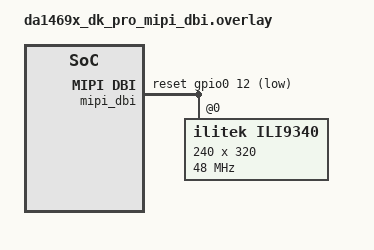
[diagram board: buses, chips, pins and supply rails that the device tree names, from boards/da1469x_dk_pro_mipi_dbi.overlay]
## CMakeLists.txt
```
# SPDX-License-Identifier: Apache-2.0

cmake_minimum_required(VERSION 3.28.0)
find_package(Zephyr REQUIRED HINTS $ENV{ZEPHYR_BASE})
project(display)

target_sources(app PRIVATE src/main.c src/display.c)
```

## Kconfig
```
# Private config options for display sample

# Copyright (c) 2025 NXP
# SPDX-License-Identifier: Apache-2.0

mainmenu "Display sample application"

source "Kconfig.zephyr"

config SAMPLE_BUFFER_ADDR_ALIGN
	int "The display buffer address alignment"
	default 8 if 64BIT
	default 8 if DISPLAY_MCUX_ELCDIF
	default 4

config SAMPLE_WIDTH_ALIGN
	int "The update area width alignment"
	default 24 if ST730X
	default 8 if UC81XX
	default 6 if ST7586S
	default 4 if SSD1322 || SSD1363
	default 2 if SSD1327_5 || SSD1320 || SH1122
	default 1

config SAMPLE_HEIGHT_ALIGN
	int "The update area height alignment"
	default 8 if ST75256 || ST7567
	default 2 if ST730X
	default 1

config HEAP_MEM_POOL_ADD_SIZE_SAMPLE
	int "Sample maximum heap allocated buffer size"
	default 16384 if SRAM_SIZE < 48
	default 32768 if SRAM_SIZE < 80
	default 196608 if QEMU_RAMFB_DISPLAY
	default 81920 if ST7262
	default 65536
	help
	  Maximum size of the buffer for rendering rectangles
```

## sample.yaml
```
sample:
  description: Sample application for displays
  name: display_sample
common:
  tags: display
tests:
  sample.display.sdl:
    build_only: true
    platform_allow:
      - native_sim/native/64
  sample.display.dummy:
    platform_allow:
      - native_sim
    extra_args: DTC_OVERLAY_FILE="dummy_dc.overlay"
    extra_configs:
      - CONFIG_SDL_DISPLAY=n
      - CONFIG_TEST=y
    harness: console
    harness_config:
      fixture: fixture_display
      type: one_line
      regex:
        - "Display sample for (.*)"
  sample.display.g1120b0mipi:
    platform_allow:
      - mimxrt595_evk/mimxrt595s/cm33
      - mimxrt700_evk/mimxrt798s/cm33_cpu0
    harness: console
    extra_args: SHIELD=g1120b0mipi
    extra_configs:
      - CONFIG_PM=y
      - CONFIG_PM_DEVICE=y
      - CONFIG_IDLE_STACK_SIZE=400
      - CONFIG_TEST=y
    harness_config:
      fixture: fixture_display_g1120b0mipi
      type: multi_line
      regex:
        - "sample: Display sample for (.*)"
        - "Display starts"
        - "Display sample test mode done (.*)"
  sample.display.builtin:
    # This test case is intended to insure that this sample builds & runs
    # correctly for all boards that have a supported built-in display.
    filter: dt_chosen_enabled("zephyr,display")
    harness: console
    harness_config:
      fixture: fixture_display
  sample.display.st_b_lcd40_dsi1_mb1166_a09:
    filter: dt_compat_enabled("frida,nt35510")
    platform_allow: stm32h747i_disco/stm32h747xx/m7
    extra_args: SHIELD=st_b_lcd40_dsi1_mb1166_a09
    tags:
      - shield
    harness: console
    harness_config:
      fixture: fixture_display
  sample.display.rk043fn02h_ct:
    platform_allow:
      - mimxrt1064_evk
      - mimxrt1060_evk@A/mimxrt1062/qspi
      - mimxrt1060_evk@B/mimxrt1062/qspi
      - mimxrt1060_evk@C/mimxrt1062/qspi
      - mimxrt1050_evk/mimxrt1052/hyperflash
      - mimxrt1040_evk
    integration_platforms:
      - mimxrt1040_evk
    harness: console
    extra_args: SHIELD=rk043fn02h_ct
    harness_config:
      fixture: fixture_display
      type: one_line
      regex:
        - "Display sample for (.*)"
  sample.display.shield:
    # This test case is intended to verify support for shields on boards
    # known to support them. It is not intended to cover all combinations
    # of boards and shields, but rather serve as a method to test each
    # display shield within Zephyr
    filter: dt_chosen_enabled("zephyr,display")
    harness: console
    harness_config:
      fixture: fixture_display
      type: one_line
      regex:
        - "Display sample for (.*)"
    extra_args:
      - platform:lpcxpresso55s69/lpc55s69/cpu0:SHIELD=adafruit_2_8_tft_touch_v2
      - platform:nrf52840dk/nrf52840:SHIELD=ssd1306_128x32
      - platform:frdm_k64f/mk64f12:SHIELD=ssd1306_128x64
      - platform:mimxrt685_evk/mimxrt685/cm33:SHIELD=waveshare_epaper_gdeh0213b1
      - platform:nucleo_l433rc_p/stm32l433xx:SHIELD=waveshare_epaper_gdew042t2
      - platform:nrf52dk/nrf52832:SHIELD=st7789v_tl019fqv01
      - platform:mimxrt1010_evk/mimxrt1011:SHIELD=st7789v_waveshare_240x240
      - platform:frdm_k22f/mk22f51212:SHIELD=ls013b7dh03
      - platform:nrf52833dk/nrf52833:SHIELD=st7735r_ada_160x128
      - platform:mimxrt1170_evk/mimxrt1176/cm7:SHIELD=rk055hdmipi4ma0
      - platform:mimxrt700_evk/mimxrt798s/cm33_cpu0:SHIELD=rk055hdmipi4ma0
      - platform:mimxrt700_evk/mimxrt798s/cm33_cpu0:SHIELD=zc143ac72mipi
      - platform:mimxrt700_evk/mimxrt798s/cm33_cpu0:SHIELD=lcd_par_s035_8080
      - platform:da1469x_dk_pro/da14699:DTC_OVERLAY_FILE=da1469x_dk_pro_mipi_dbi.overlay
      - platform:nrf52840dk/nrf52840:SHIELD=max7219_8x8
      - platform:stm32h747i_disco/stm32h747xx/m7:SHIELD=st_b_lcd40_dsi1_mb1166
      - platform:mimxrt1064_evk/mimxrt1064:SHIELD=rk043fn66hs_ctg
      - platform:mimxrt1060_evk/mimxrt1062:SHIELD=rk043fn66hs_ctg
      - platform:mimxrt1050_evk/mimxrt1052:SHIELD=rk043fn66hs_ctg
      - platform:mimxrt1040_evk/mimxrt1042:SHIELD=rk043fn66hs_ctg
      - platform:frdm_mcxn947/mcxn947/cpu0:SHIELD=lcd_par_s035_8080
      - platform:mcx_n9xx_evk/mcxn947/cpu0:SHIELD=lcd_par_s035_8080
      - platform:frdm_mcxn236/mcxn236:SHIELD=lcd_par_s035_8080
      - platform:frdm_mcxa156/mcxa156:SHIELD=lcd_par_s035_8080
      - platform:frdm_rw612:SHIELD=lcd_par_s035_spi
      - platform:ek_ra8d1:SHIELD=rtkmipilcdb00000be
      - platform:ek_ra8d1:SHIELD=rtk7eka6m3b00001bu
      - platform:nucleo_g071rb/stm32g071xx:SHIELD=x_nucleo_gfx01m2
      - platform:m5stack_atoms3/esp32s3/procpu:SHIELD=m5stack_unit_minioled
```

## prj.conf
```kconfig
CONFIG_LOG=y
CONFIG_DISPLAY=y
```

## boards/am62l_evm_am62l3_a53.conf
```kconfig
#
# SPDX-FileCopyrightText: 2026 Texas Instruments Incorporated
#
# SPDX-License-Identifier: Apache-2.0
#
CONFIG_SAMPLE_DISPLAY_FULL_FRAME=y
CONFIG_SAMPLE_DISPLAY_DOUBLE_BUFFER=y
CONFIG_SAMPLE_DISPLAY_VSYNC_CALLBACK=y
CONFIG_ILI9881C_DSI_RPI_TOUCH_DISPLAY=y
```

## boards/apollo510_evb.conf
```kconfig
CONFIG_HEAP_MEM_POOL_SIZE=831744
CONFIG_DCACHE=n
```

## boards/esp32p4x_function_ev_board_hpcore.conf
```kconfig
#
# Copyright (c) 2026 Espressif Systems (Shanghai) Co., Ltd.
#
# SPDX-License-Identifier: Apache-2.0
#

# The sample draws into a buffer it allocates from the system heap, which is
# a full 1024 pixel row band on this panel.
CONFIG_HEAP_MEM_POOL_SIZE=393216

# The scanout DMA reads the framebuffer, so writes to it have to land on
# whole cache lines.
CONFIG_SAMPLE_BUFFER_ADDR_ALIGN=128
```

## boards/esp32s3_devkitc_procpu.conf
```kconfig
CONFIG_SHELL=y
CONFIG_DEVICE_SHELL=y
CONFIG_PRINTK=y
CONFIG_LOG=y
CONFIG_DISPLAY=y
CONFIG_GPIO=y
CONFIG_SPI=y
CONFIG_ST7789V=y
CONFIG_ST7789V_RGB565=y
```

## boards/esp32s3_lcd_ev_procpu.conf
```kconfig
# Copyright (c) 2026 Espressif Systems (Shanghai) Co., Ltd.
# SPDX-License-Identifier: Apache-2.0

CONFIG_MAIN_STACK_SIZE=4096
CONFIG_DISPLAY_ESP32_DPI_BOUNCE_BUFFER_LINES=48
CONFIG_HEAP_MEM_POOL_ADD_SIZE_SAMPLE=51200
CONFIG_SPIRAM_SPEED_80M=y
CONFIG_ESP32S3_DATA_CACHE_64KB=y
CONFIG_ESP32S3_DATA_CACHE_LINE_64B=y
```

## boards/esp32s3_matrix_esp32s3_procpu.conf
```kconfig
# Copyright (c) 2025 Chen Xingyu <hi@xingrz.me>
# SPDX-License-Identifier: Apache-2.0
CONFIG_LED_STRIP=y
```

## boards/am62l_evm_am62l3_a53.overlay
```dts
/*
 * Copyright (C) 2026 Texas Instruments Incorporated
 *
 * SPDX-License-Identifier: Apache-2.0
 */

&main_i2c0 {
	status = "okay";
};

&display_mcu {
	status = "okay";
};

&dsi0 {
	data-lanes = <2>;

	rpi_td2: panel@0 {
		status = "okay";
	};
};
```

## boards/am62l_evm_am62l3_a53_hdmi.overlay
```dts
/*
 * Copyright (C) 2026 Texas Instruments Incorporated
 *
 * SPDX-License-Identifier: Apache-2.0
 */

&dss {
	pinctrl-0 = <&dss_vout0_data0>,
		    <&dss_vout0_data1>,
		    <&dss_vout0_data2>,
		    <&dss_vout0_data3>,
		    <&dss_vout0_data4>,
		    <&dss_vout0_data5>,
		    <&dss_vout0_data6>,
		    <&dss_vout0_data7>,
		    <&dss_vout0_data8>,
		    <&dss_vout0_data9>,
		    <&dss_vout0_data10>,
		    <&dss_vout0_data11>,
		    <&dss_vout0_data12>,
		    <&dss_vout0_data13>,
		    <&dss_vout0_data14>,
		    <&dss_vout0_data15>,
		    <&dss_vout0_data16>,
		    <&dss_vout0_data17>,
		    <&dss_vout0_data18>,
		    <&dss_vout0_data19>,
		    <&dss_vout0_data20>,
		    <&dss_vout0_data21>,
		    <&dss_vout0_data22>,
		    <&dss_vout0_data23>,
		    <&dss_vout0_de>,
		    <&dss_vout0_extpclkin>,
		    <&dss_vout0_hsync>,
		    <&dss_vout0_pclk>,
		    <&dss_vout0_vsync>;
	pinctrl-names = "default";

	data-width = <24>;
	height = <1080>;
	width = <1920>;

	display-timings {
		compatible = "zephyr,panel-timing";
		clock-frequency = <148500000>;
		hfront-porch = <88>;
		hback-porch = <148>;
		hsync-len = <44>;
		vfront-porch = <4>;
		vback-porch = <36>;
		vsync-len = <5>;
		hsync-active = <1>;
		vsync-active = <1>;
		de-active = <1>;
		pixelclk-active = <0>;
	};

	status = "okay";
};

&main_i2c1 {
	status = "okay";
};

&sii9022a {
	status = "okay";
};
```

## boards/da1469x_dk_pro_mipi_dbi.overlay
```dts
/*
 * Copyright (c) 2023 Renesas Electronics Corporation
 *
 * SPDX-License-Identifier: Apache-2.0
 */

 #include <zephyr/dt-bindings/display/ili9xxx.h>
 #include <zephyr/dt-bindings/gpio/gpio.h>

 / {
    chosen {
        zephyr,display = &ili9340;
    };
 };

 &mipi_dbi {
    reset-gpios = <&gpio0 12 GPIO_ACTIVE_LOW>;
    status = "okay";
    spi-dev = <&spi2>;

    ili9340: ili9340@0 {
        compatible = "ilitek,ili9340";
        mipi-max-frequency = <48000000>;
        status = "okay";
        reg = <0>;
        width = <240>;
        height = <320>;
        pixel-format = <ILI9XXX_PIXEL_FORMAT_RGB565>;
        rotation = <0>;
    };
};
```

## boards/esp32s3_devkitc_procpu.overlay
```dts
/*
 * Copyright (c) 2025 Espressif Systems (Shanghai) Co., Ltd.
 * SPDX-License-Identifier: Apache-2.0
 */

#include <zephyr/dt-bindings/pinctrl/esp32s3-pinctrl.h>

&pinctrl {
	spim3_default: spim3_default {
		group1 {
			pinmux = <SPIM3_SCLK_GPIO21>,
				 <SPIM3_CSEL_GPIO12>;
		};
		group2 {
			pinmux = <SPIM3_MOSI_GPIO20>;
			output-low;
		};
	};
};

/* disable SPI2 as it conflicts with SPI3 pinout */
&spi2 {
	status = "disabled";
};

&spi3 {
	#address-cells = <1>;
	#size-cells = <0>;
	status = "okay";
	pinctrl-0 = <&spim3_default>;
	pinctrl-names = "default";
};

/ {

	chosen {
		zephyr,display = &st7789v;
	};

	mipi_dbi {
		compatible = "zephyr,mipi-dbi-spi";
		dc-gpios = <&gpio0 11 GPIO_ACTIVE_HIGH>;
		reset-gpios = <&gpio0 10 GPIO_ACTIVE_LOW>;
		spi-dev = <&spi3>;
		write-only;
		#address-cells = <1>;
		#size-cells = <0>;
		status = "okay";

		st7789v: st7789v@0 {
			compatible = "sitronix,st7789v";
			mipi-max-frequency = <DT_FREQ_M(10)>;
			reg = <0>;
			width = <240>;
			height = <320>;
			x-offset = <0>;
			y-offset = <0>;
			vcom = <0x19>;
			gctrl = <0x35>;
			vrhs = <0x12>;
			vdvs = <0x20>;
			mdac = <0x0>;
			gamma = <0x01>;
			colmod = <0x55>;
			lcm = <0x2c>;
			porch-param = [0c 0c 00 33 33];
			cmd2en-param = [5a 69 02 01];
			pwctrl1-param = [a4 a1];
			pvgam-param = [D0 04 0D 11 13 2B 3F 54 4C 18 0D 0B 1F 23];
			nvgam-param = [D0 04 0C 11 13 2C 3F 44 51 2F 1F 1F 20 23];
			ram-param = [00 F0];
			rgb-param = [CD 08 14];
			mipi-mode = "MIPI_DBI_MODE_SPI_4WIRE";
		};
	};
};
```

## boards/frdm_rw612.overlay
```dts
/*
 * Copyright 2025 NXP
 *
 * SPDX-License-Identifier: Apache-2.0
 */

&standby {
	status = "okay";
};

&st7796s {
	zephyr,pm-device-runtime-auto;
};
```

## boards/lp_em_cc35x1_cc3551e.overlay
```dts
/*
 * Copyright (C) 2026 Conclusive Engineering
 * Copyright (C) 2026 Texas Instruments
 *
 * SPDX-License-Identifier: Apache-2.0
 */

#include "lm_em_cc35xx_arduino.dtsi"
```

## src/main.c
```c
/*
 * Copyright (c) 2019 Jan Van Winkel <jan.van_winkel@dxplore.eu>
 *
 * Based on ST7789V sample:
 * Copyright (c) 2019 Marc Reilly
 *
 * SPDX-License-Identifier: Apache-2.0
 */

#include "display.h"

int main(void)
{
	return sample_display_draw();
}
```

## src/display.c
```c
/*
 * Copyright (c) 2019 Jan Van Winkel <jan.van_winkel@dxplore.eu>
 *
 * Based on ST7789V sample:
 * Copyright (c) 2019 Marc Reilly
 *
 * Copyright (c) 2026 NXP
 *
 * SPDX-License-Identifier: Apache-2.0
 */

#include <zephyr/logging/log.h>
LOG_MODULE_REGISTER(sample, LOG_LEVEL_INF);

#include <zephyr/kernel.h>
#include <zephyr/device.h>
#include <zephyr/drivers/display.h>
#include <zephyr/pm/device_runtime.h>
#include <zephyr/sys/byteorder.h>

#ifdef CONFIG_ARCH_POSIX
#include "posix_board_if.h"
#endif

#include "display.h"

enum corner {
	TOP_LEFT,
	TOP_RIGHT,
	BOTTOM_RIGHT,
	BOTTOM_LEFT
};

typedef void (*fill_buffer)(enum corner corner, uint8_t grey, uint8_t *buf,
			    size_t buf_size, uint32_t fmt);


static void fill_buffer_argb8888(enum corner corner, uint8_t grey, uint8_t *buf,
				 size_t buf_size, uint32_t fmt)
{
	uint8_t r = 0, g = 0, b = 0;
	uint8_t a = 0xFFu;
	uint32_t color;

	switch (corner) {
	case TOP_LEFT:
		r = 0xFF;
		break;
	case TOP_RIGHT:
		g = 0xFF;
		break;
	case BOTTOM_RIGHT:
		b = 0xFF;
		break;
	case BOTTOM_LEFT:
	default:
		r = grey; g = grey; b = grey;
		break;
	}

	switch (fmt) {
	case PIXEL_FORMAT_ABGR_8888:
		color = (uint32_t)a << 24 | (uint32_t)b << 16 | (uint32_t)g << 8 | r;
		break;
	case PIXEL_FORMAT_RGBA_8888:
		color = (uint32_t)r << 24 | (uint32_t)g << 16 | (uint32_t)b << 8 | a;
		break;
	case PIXEL_FORMAT_BGRA_8888:
		color = (uint32_t)b << 24 | (uint32_t)g << 16 | (uint32_t)r << 8 | a;
		break;
	default: /* PIXEL_FORMAT_ARGB_8888 / PIXEL_FORMAT_XRGB_8888 */
		color = (uint32_t)a << 24 | (uint32_t)r << 16 | (uint32_t)g << 8 | b;
		break;
	}

	for (size_t idx = 0; idx < buf_size; idx += 4) {
		*((uint32_t *)(buf + idx)) = sys_cpu_to_le32(color);
	}
}

static void fill_buffer_rgb888(enum corner corner, uint8_t grey, uint8_t *buf,
			       size_t buf_size, uint32_t fmt)
{
	uint8_t r = 0, g = 0, b = 0;
	uint8_t byte0, byte1, byte2;

	switch (corner) {
	case TOP_LEFT:
		r = 0xFF;
		break;
	case TOP_RIGHT:
		g = 0xFF;
		break;
	case BOTTOM_RIGHT:
		b = 0xFF;
		break;
	case BOTTOM_LEFT:
	default:
		r = grey; g = grey; b = grey;
		break;
	}

	if (fmt == PIXEL_FORMAT_BGR_888) {
		byte0 = r; byte1 = g; byte2 = b;
	} else {
		byte0 = b; byte1 = g; byte2 = r;
	}

	for (size_t idx = 0; idx < buf_size; idx += 3) {
		*(buf + idx + 0) = byte0;
		*(buf + idx + 1) = byte1;
		*(buf + idx + 2) = byte2;
	}
}

static uint16_t get_rgb565_color(enum corner corner, uint8_t grey)
{
	uint16_t color = 0;
	uint16_t grey_5bit;

	switch (corner) {
	case TOP_LEFT:
		color = 0xF800u;
		break;
	case TOP_RIGHT:
		color = 0x07E0u;
		break;
	case BOTTOM_RIGHT:
		color = 0x001Fu;
		break;
	case BOTTOM_LEFT:
		grey_5bit = grey & 0x1Fu;
		/* shift the green an extra bit, it has 6 bits */
		color = grey_5bit << 11 | grey_5bit << (5 + 1) | grey_5bit;
		break;
	}
	return color;
}

static void fill_buffer_rgb565x(enum corner corner, uint8_t grey, uint8_t *buf,
				size_t buf_size, uint32_t fmt)
{
	uint16_t color = get_rgb565_color(corner, grey);

	for (size_t idx = 0; idx < buf_size; idx += 2) {
		*(buf + idx + 0) = (color >> 8) & 0xFFu;
		*(buf + idx + 1) = (color >> 0) & 0xFFu;
	}
}

static void fill_buffer_rgb565(enum corner corner, uint8_t grey, uint8_t *buf,
			       size_t buf_size, uint32_t fmt)
{
	uint16_t color = get_rgb565_color(corner, grey);

	for (size_t idx = 0; idx < buf_size; idx += 2) {
		*(uint16_t *)(buf + idx) = color;
	}
}

static void fill_buffer_mono(enum corner corner, uint8_t grey,
			     uint8_t black, uint8_t white,
			     uint8_t *buf, size_t buf_size)
{
	uint16_t color;

	switch (corner) {
	case BOTTOM_LEFT:
		color = (grey & 0x01u) ? white : black;
		break;
	default:
		color = black;
		break;
	}

	memset(buf, color, buf_size);
}

static inline void fill_buffer_l_8(enum corner corner, uint8_t grey, uint8_t *buf,
				    size_t buf_size, uint32_t fmt)
{
	uint8_t color;

	switch (corner) {
	case TOP_LEFT:
		color = 0x00u;
		break;
	case TOP_RIGHT:
		/* Use 0xE0 since 0xFF leads to drawing white corner on white back-ground */
		color = 0xE0u;
		break;
	case BOTTOM_RIGHT:
		color = 0x88u;
		break;
	case BOTTOM_LEFT:
		color = 0x00u | grey;
		break;
	default:
		color = 0;
		break;
	}

	for (size_t idx = 0; idx < buf_size; idx += 1) {
		*(uint8_t *)(buf + idx) = color;
	}
}

static inline void fill_buffer_l_4(enum corner corner, uint8_t grey, uint8_t *buf,
				   size_t buf_size, uint32_t fmt)
{
	uint8_t nibble;

	switch (corner) {
	case TOP_LEFT:
		nibble = 0x0u;
		break;
	case TOP_RIGHT:
		nibble = 0xEu;
		break;
	case BOTTOM_RIGHT:
		nibble = 0x8u;
		break;
	case BOTTOM_LEFT:
		nibble = grey & 0x0Fu;
		break;
	default:
		nibble = 0;
		break;
	}

	uint8_t byte_val = (nibble << 4) | nibble;

	for (size_t idx = 0; idx < buf_size; idx += 1) {
		buf[idx] = byte_val;
	}
}

static void fill_buffer_al_88(enum corner corner, uint8_t grey, uint8_t *buf,
			      size_t buf_size, uint32_t fmt)
{
	uint16_t color;

	switch (corner) {
	case TOP_LEFT:
		color = 0xFF00u;
		break;
	case TOP_RIGHT:
		color = 0xFFFFu;
		break;
	case BOTTOM_RIGHT:
		color = 0xFF88u;
		break;
	case BOTTOM_LEFT:
		color = 0xFF00u | grey;
		break;
	default:
		color = 0;
		break;
	}

	for (size_t idx = 0; idx < buf_size; idx += 2) {
		*((uint16_t *)(buf + idx)) = sys_cpu_to_le16(color);
	}
}

static inline void fill_buffer_mono01(enum corner corner, uint8_t grey,
				      uint8_t *buf, size_t buf_size,
				      uint32_t fmt)
{
	fill_buffer_mono(corner, grey, 0x00u, 0xFFu, buf, buf_size);
}

static inline void fill_buffer_mono10(enum corner corner, uint8_t grey,
				      uint8_t *buf, size_t buf_size,
				      uint32_t fmt)
{
	fill_buffer_mono(corner, grey, 0xFFu, 0x00u, buf, buf_size);
}

int sample_display_draw(void)
{
	uint16_t x;
	uint16_t y;
	uint16_t rect_w;
	uint16_t rect_h;
	uint16_t h_step;
	size_t scale;
	size_t grey_count;
	uint8_t bg_color;
	uint8_t *buf;
	int32_t grey_scale_sleep;
	const struct device *display_dev;
	struct display_capabilities capabilities;
	struct display_buffer_descriptor buf_desc;
	size_t buf_size = 0;
	fill_buffer fill_buffer_fnc = NULL;
	int ret = 0;

	display_dev = DEVICE_DT_GET(DT_CHOSEN(zephyr_display));
	if (!device_is_ready(display_dev)) {
		LOG_ERR("Device %s not found. Aborting sample.",
			display_dev->name);
		ret = -ENODEV;
		goto end;
	}

	/* Hold a runtime PM reference so the display stays active for the
	 * duration of the sample. No-op when runtime PM is not enabled on
	 * the device.
	 */
	(void)pm_device_runtime_get(display_dev);

	LOG_INF("Display sample for %s", display_dev->name);
	display_get_capabilities(display_dev, &capabilities);

	if (capabilities.screen_info & SCREEN_INFO_MONO_VTILED) {
		rect_w = 16;
		rect_h = 8;
	} else {
		rect_w = 2;
		rect_h = 1;
	}

	if ((capabilities.x_resolution < 3 * rect_w) ||
	    (capabilities.y_resolution < 3 * rect_h) ||
	    (capabilities.x_resolution < 8 * rect_h)) {
		rect_w = capabilities.x_resolution * 40 / 100;
		rect_h = capabilities.y_resolution * 40 / 100;
		h_step = capabilities.y_resolution * 20 / 100;
		scale = 1;
	} else {
		h_step = rect_h;
		scale = (capabilities.x_resolution / 8) / rect_h;
	}

	rect_w *= scale;
	rect_h *= scale;

	if (capabilities.screen_info & SCREEN_INFO_EPD) {
		grey_scale_sleep = 10000;
	} else {
		grey_scale_sleep = 100;
	}

	if (capabilities.screen_info & SCREEN_INFO_X_ALIGNMENT_WIDTH) {
		rect_w = capabilities.x_resolution;
	}

	rect_w = ROUND_UP(rect_w, CONFIG_SAMPLE_WIDTH_ALIGN);
	rect_h = ROUND_UP(rect_h, CONFIG_SAMPLE_HEIGHT_ALIGN);
	h_step = ROUND_UP(h_step, CONFIG_SAMPLE_HEIGHT_ALIGN);

	buf_size = rect_w * rect_h;

	if (buf_size < (capabilities.x_resolution * h_step)) {
		buf_size = capabilities.x_resolution * h_step;
	}

	switch (capabilities.current_pixel_format) {
	case PIXEL_FORMAT_XRGB_8888:
	case PIXEL_FORMAT_ARGB_8888:
	case PIXEL_FORMAT_ABGR_8888:
	case PIXEL_FORMAT_RGBA_8888:
	case PIXEL_FORMAT_BGRA_8888:
		bg_color = 0xFFu;
		fill_buffer_fnc = fill_buffer_argb8888;
		break;
	case PIXEL_FORMAT_RGB_888:
	case PIXEL_FORMAT_BGR_888:
		bg_color = 0xFFu;
		fill_buffer_fnc = fill_buffer_rgb888;
		break;
	case PIXEL_FORMAT_RGB_565:
		bg_color = 0xFFu;
		fill_buffer_fnc = fill_buffer_rgb565;
		break;
	case PIXEL_FORMAT_RGB_565X:
		bg_color = 0xFFu;
		fill_buffer_fnc = fill_buffer_rgb565x;
		break;
	case PIXEL_FORMAT_L_8:
		bg_color = 0xFFu;
		fill_buffer_fnc = fill_buffer_l_8;
		break;
	case PIXEL_FORMAT_L_4:
		bg_color = 0xFFu;
		fill_buffer_fnc = fill_buffer_l_4;
		break;
	case PIXEL_FORMAT_AL_88:
		bg_color = 0x00u;
		fill_buffer_fnc = fill_buffer_al_88;
		break;
	case PIXEL_FORMAT_MONO01:
		bg_color = 0xFFu;
		fill_buffer_fnc = fill_buffer_mono01;
		break;
	case PIXEL_FORMAT_MONO10:
		bg_color = 0x00u;
		fill_buffer_fnc = fill_buffer_mono10;
		break;
	default:
		LOG_ERR("Unsupported pixel format. Aborting sample.");
		ret = -ENOTSUP;
		goto end;
	}

	/* Amount of bytes necessary depends on format - ensure to round up, necessary for
	 * MONO formats
	 */
	buf_size *= DISPLAY_BITS_PER_PIXEL(capabilities.current_pixel_format);
	buf_size = DIV_ROUND_UP(DIV_ROUND_UP(buf_size, NUM_BITS(uint8_t)), sizeof(uint8_t));

	buf = k_aligned_alloc(CONFIG_SAMPLE_BUFFER_ADDR_ALIGN, buf_size);

	if (buf == NULL) {
		LOG_ERR("Could not allocate memory. Aborting sample.");
		ret = -ENOMEM;
		goto end;
	}

	(void)memset(buf, bg_color, buf_size);

	buf_desc.buf_size = buf_size;
	buf_desc.pitch = ROUND_UP(capabilities.x_resolution, CONFIG_SAMPLE_WIDTH_ALIGN);
	buf_desc.width = capabilities.x_resolution;
	buf_desc.height = h_step;

	/*
	 * The following writes will only render parts of the image,
	 * so turn this option on.
	 * This allows double-buffered displays to hold the pixels
	 * back until the image is complete.
	 */
	buf_desc.frame_incomplete = true;

	for (uint16_t idx = 0; idx < capabilities.y_resolution; idx += h_step) {
		/*
		 * Tweaking the height value not to draw outside of the display.
		 * It is required when using a monochrome display whose vertical
		 * resolution can not be divided by 8.
		 */
		if ((capabilities.y_resolution - idx) < h_step) {
			buf_desc.height = (capabilities.y_resolution - idx);
		}
		/* Fails on setups requiring alignment but where the display size is not aligned */
		ret = display_write(display_dev, 0, idx, &buf_desc, buf);
		if (ret < 0) {
			LOG_WRN("Failed to write to display (error %d)", ret);
		}
	}

	buf_desc.pitch = rect_w;
	buf_desc.width = rect_w;
	buf_desc.height = rect_h;

	fill_buffer_fnc(TOP_LEFT, 0, buf, buf_size, capabilities.current_pixel_format);
	x = 0;
	y = 0;
	ret = display_write(display_dev, x, y, &buf_desc, buf);
	if (ret < 0) {
		LOG_ERR("Failed to write to display (error %d)", ret);
		goto end;
	}

	fill_buffer_fnc(TOP_RIGHT, 0, buf, buf_size, capabilities.current_pixel_format);
	x = capabilities.x_resolution - rect_w;
	y = 0;
	ret = display_write(display_dev, x, y, &buf_desc, buf);
	if (ret < 0) {
		LOG_ERR("Failed to write to display (error %d)", ret);
		goto end;
	}

	/*
	 * This is the last write of the frame, so turn this off.
	 * Double-buffered displays will now present the new image
	 * to the user.
	 */
	buf_desc.frame_incomplete = false;

	fill_buffer_fnc(BOTTOM_RIGHT, 0, buf, buf_size, capabilities.current_pixel_format);
	x = capabilities.x_resolution - rect_w;
	y = capabilities.y_resolution - rect_h;
	ret = display_write(display_dev, x, y, &buf_desc, buf);
	if (ret < 0) {
		LOG_ERR("Failed to write to display (error %d)", ret);
		goto end;
	}

	ret = display_blanking_off(display_dev);
	if (ret < 0 && ret != -ENOSYS) {
		LOG_ERR("Failed to turn blanking off (error %d)", ret);
		goto end;
	}

	grey_count = 0;
	x = 0;
	y = capabilities.y_resolution - rect_h;

	LOG_INF("Display starts");
	while (1) {
		fill_buffer_fnc(BOTTOM_LEFT, grey_count, buf, buf_size,
			capabilities.current_pixel_format);
		ret = display_write(display_dev, x, y, &buf_desc, buf);
		if (ret < 0) {
			LOG_ERR("Failed to write to display (error %d)", ret);
			goto end;
		}

		++grey_count;
		k_msleep(grey_scale_sleep);
#if CONFIG_TEST
		if (grey_count >= 30) {
			LOG_INF("Display sample test mode done %s", display_dev->name);
			break;
		}
#endif
	}

end:
#if CONFIG_TEST
	if (ret == 0) {
		LOG_INF("PROJECT EXECUTION SUCCESSFUL");
	} else {
		LOG_INF("PROJECT EXECUTION FAILED");
	}
#endif
#ifdef CONFIG_ARCH_POSIX
	posix_exit(ret == 0 ? 0 : 1);
#endif
	return 0;
}
```

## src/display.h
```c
/*
 * Copyright (c) 2019 Jan Van Winkel <jan.van_winkel@dxplore.eu>
 *
 * Based on ST7789V sample:
 * Copyright (c) 2019 Marc Reilly
 *
 * Copyright (c) 2026 Texas Instruments Incorporated
 *
 * SPDX-License-Identifier: Apache-2.0
 */

#ifndef __SAMPLE_DISPLAY_H__
#define __SAMPLE_DISPLAY_H__

#define SAMPLE_DISPLAY_NUM_FULL_FRAMEBUFFERS \
	(IS_ENABLED(CONFIG_SAMPLE_DISPLAY_DOUBLE_BUFFER) ? 2 : 1)

int sample_display_draw(void);

#endif
```
